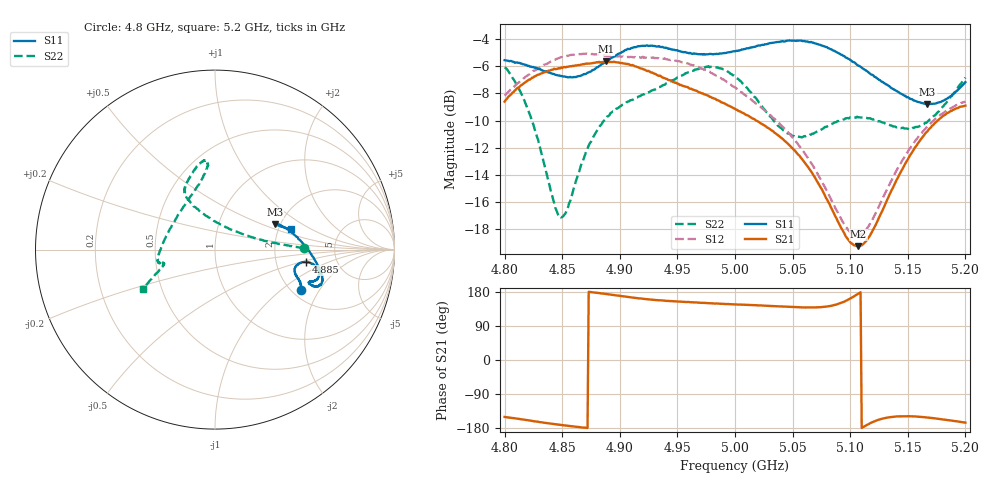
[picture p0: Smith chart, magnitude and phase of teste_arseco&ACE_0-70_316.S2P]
! Network Analyzer HP8722D
! Hewlett-Packard
! Data name: Linha & Wilkinson
! Saver's name: Rodrigo Anjos
! Comments: Teste da utilização de aquisição
! continua pelo VNA HP8722D
! Time and date: 8/5/2025 15:23
!  Frequency  S11  S21  S12  S22
# HZ  S  MA R 50
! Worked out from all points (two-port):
!   401 points, 4.8 GHz to 5.2 GHz, reference 50 ohm
!   highest |S21| = -5.64 dB at 4.888 GHz (marker M1); lowest = -19.3 dB at 5.107 GHz (marker M2)
!   |S21| within 3 dB of the highest: start of sweep to 4.988 GHz
!   lowest |S11| = -8.8 dB at 5.167 GHz (marker M3), VSWR 2.14, Z = 93.7 + j30.7 ohm
!   |S11| at or under -10 dB: nowhere
!   |S22| runs from -17.2 to -6.0 dB; largest |S21 - S12| = 1.1
!   S11 on the Smith chart (normalised r, x): 4.8 GHz: 2.23, -1.39; 4.885 GHz: 2.98, -0.55; 5.2 GHz: 2.34, +0.65
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4.8e9  0.5279 -25.3  0.3712 -150.3  0.3903 8.8  0.4967 1.1
4.821e9  0.5032 -20.4  0.4471 -159.4  0.4669 5.9  0.3406 6.2
4.847e9  0.4635 -16.1  0.4939 -170.8  0.5372 1.9  0.1399 54.4
4.854e9  0.4576 -14.3  0.499 -173.4  0.5469 0.5  0.1482 82.2
4.867e9  0.4643 -10.7  0.5085 -178.1  0.5559 -1.3  0.2205 109.7
4.885e9  0.5118 -7.7  0.5195 175.4  0.5513 -2.5  0.3111 117.7
4.888e9  0.5217 -7.9  0.5224 174.2  0.5488 -2.3  0.3197 118.4
4.912e9  0.5891 -11.4  0.5042 164.3  0.5407 -1.7  0.3787 116.3
4.934e9  0.5949 -16.0  0.4621 157.5  0.5372 -2.8  0.4202 110.5
4.975e9  0.5549 -19.3  0.3931 150.3  0.4848 -6.3  0.4994 97.6
5e9  0.5696 -20.1  0.3494 146.5  0.4184 -6.3  0.4608 95.5
5.018e9  0.5923 -20.0  0.3165 144.6  0.3656 -3.8  0.3837 103.0
5.044e9  0.6209 -18.2  0.2642 140.6  0.2922 2.0  0.287 132.0
5.067e9  0.6134 -13.7  0.2025 138.6  0.2178 8.9  0.2829 164.9
5.095e9  0.5459 -4.0  0.1211 154.1  0.1308 34.4  0.3198 -172.2
5.107e9  0.5037 1.8  0.1088 175.2  0.1187 57.5  0.325 -168.2
5.118e9  0.4677 7.3  0.1208 -165.8  0.1335 78.3  0.3212 -166.6
5.134e9  0.4232 15.3  0.168 -151.1  0.1832 94.5  0.3046 -165.9
5.151e9  0.3834 21.4  0.2312 -148.4  0.247 100.0  0.2936 -164.4
5.167e9  0.3634 23.0  0.2883 -151.9  0.3004 101.0  0.3128 -161.5
5.183e9  0.3787 20.6  0.3335 -157.8  0.3426 101.0  0.3657 -156.9
5.2e9  0.4382 14.8  0.3589 -165.2  0.3718 101.4  0.4551 -151.1
